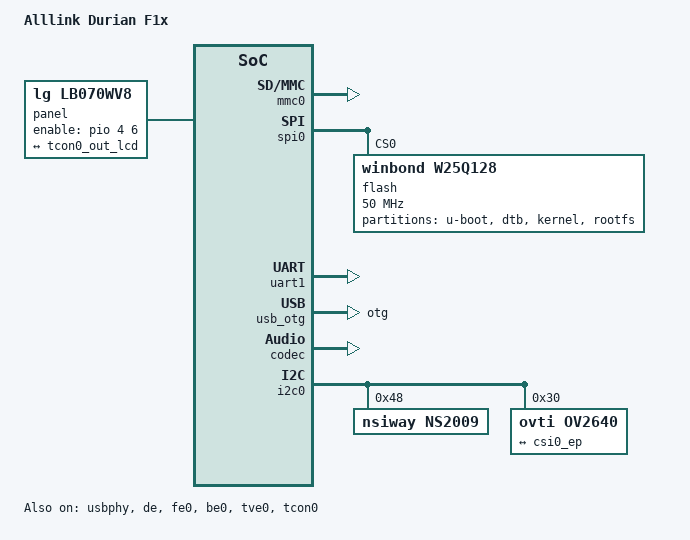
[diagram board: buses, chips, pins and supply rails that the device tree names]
// SPDX-License-Identifier: (GPL-2.0+ OR X11)
/*
 * Copyright 2018 Icenowy Zheng <icenowy@aosc.io>
 */

/dts-v1/;
#include "suniv-f1c100s.dtsi"

#include <dt-bindings/gpio/gpio.h>

/ {
    model = "Alllink Durian F1x";
    compatible = "allwinner,suniv-f1c100s","allwinner,suniv";

    aliases {
        serial0 = &uart0;
        serial1 = &uart1;
        spi0 = &spi0;
    };

    chosen {
        #address-cells = <1>;
        #size-cells = <1>;
        ranges;

        stdout-path = "serial1:115200n8";
    };

    panel: panel {
        compatible = "lg,lb070wv8", "simple-panel";
        #address-cells = <1>;
        #size-cells = <0>;
        enable-gpios = <&pio 4 6 GPIO_ACTIVE_HIGH>;

        port@0 {
            reg = <0>;
            #address-cells = <1>;
            #size-cells = <0>;

            panel_input: endpoint@0 {
                reg = <0>;
                remote-endpoint = <&tcon0_out_lcd>;
            };
        };
    };
};

&mmc0 {
    broken-cd;
    status = "okay";
};

&spi0 {
    pinctrl-names = "default";
    pinctrl-0 = <&spi0_pins_c>;
    status = "okay";
    spi-max-frequency = <50000000>;

    flash:w25q128@0 {
        #address-cells = <1>;
        #size-cells = <1>;
        compatible = "winbond,w25q128", "jedec,spi-nor";
        reg = <0>;
        spi-max-frequency = <50000000>;
        partitions {
            compatible = "fixed-partitions";
            #address-cells = <1>;
            #size-cells = <1>;
            partition@0 {
                label = "u-boot";
                reg = <0x000000 0x090000>;
                read-only;
            };
            partition@100000 {
                label = "dtb";
                reg = <0x090000 0x010000>;
                read-only;
            };
            partition@110000 {
                label = "kernel";
                reg = <0x0a0000 0x400000>;
                read-only;
            };
            partition@510000 {
                label = "rootfs";
                reg = <0x4a0000 0xb60000>;
            };
        };
    };
};

&uart0 {
    pinctrl-names = "default";
    pinctrl-0 = <&uart0_pins_e>;
    status = "disable";
};

&uart1 {
    pinctrl-names = "default";
    pinctrl-0 = <&uart1_pins_a>;
    status = "okay";
};

&uart2 {
    pinctrl-names = "default";
    pinctrl-0 = <&uart2_pins_e>;
    status = "disable";
};

&otg_sram {
    status = "okay";
};

&usb_otg {
    dr_mode = "otg";
    status = "okay";
};

&usbphy {
    usb0_id_det = <&pio 4 2 GPIO_ACTIVE_HIGH>; /* PE2 */
    status = "okay";
};

&cedar_ve {
    status = "disable";
};

&ion {
    status = "disable";
};

&de {
    status = "okay";
};

&fe0 {
    status = "okay";
};

&be0 {
    status = "okay";
};

&tve0 {
    status = "okay";
};

&tcon0 {
    pinctrl-names = "default";
    pinctrl-0 = <&lcd_rgb565_pins_d>;
    status = "okay";
};

&tcon0_out {
    tcon0_out_lcd: endpoint@0 {
        reg = <0>;
        remote-endpoint = <&panel_input>;
    };
};

&codec {
    allwinner,audio-routing =
        "Headphone", "HP",
        "Headphone", "HPCOM",
        "LINEIN", "Line In",
        "FMINL", "Left FM In",
        "FMINR", "Right FM In",
        "MIC", "Mic";
    status = "okay";
};

&i2c0 {
    pinctrl-0 = <&i2c0_pins_d>;
    pinctrl-names = "default";
    status = "okay";

    ns2009: ns2009@48 {
        compatible = "nsiway,ns2009";
        reg = <0x48>;
    };

    ov2640: camera@30 {
        compatible = "ovti,ov2640";
        reg = <0x30>;
        pinctrl-0 = <&clk_out_pins_e>;
        pinctrl-names = "default";
        clocks = <&clk_out>;
        clock-names = "xvclk";
        assigned-clocks = <&clk_out>;
        assigned-clock-rates = <24000000>;

        port {
            ov2640_ep: endpoint {
                remote-endpoint = <&csi0_ep>;
            };
        };
    };

/*
    gt911: touchscreen@14 {
        compatible = "goodix,gt911";
        reg = <0x14>;
        interrupt-parent = <&pio>;
        interrupts = <4 3 IRQ_TYPE_EDGE_FALLING>; // (PE03)
        pinctrl-names = "default";
        pinctrl-0 = <&ts_reset_pin>;
        irq-gpios = <&pio 4 3 GPIO_ACTIVE_HIGH>; // (PE03)
        reset-gpios = <&pio 4 9 GPIO_ACTIVE_HIGH>; // RST (PE9)
//        touchscreen-swapped-x-y
    };
*/
};

&csi0 {
    pinctrl-names = "default";
    pinctrl-0 = <&csi0_pins_e>;
    status = "disable";
    port {
        csi0_ep: endpoint {
            remote-endpoint = <&ov2640_ep>;
        };
    };
};
